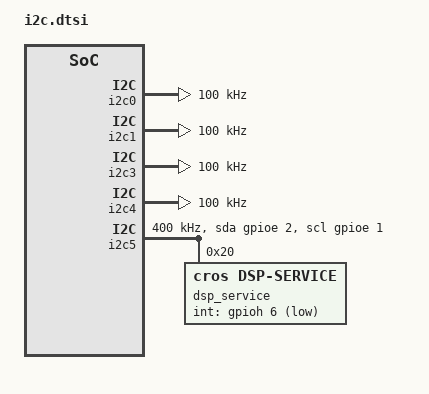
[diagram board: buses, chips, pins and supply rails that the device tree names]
/* Copyright 2026 The ChromiumOS Authors
 * Use of this source code is governed by a BSD-style license that can be
 * found in the LICENSE file.
 */

/ {
	named-i2c-ports {
		compatible = "named-i2c-ports";

		i2c_ec_i2c_eusba: ec_i2c_eusba {
			i2c-port = <&i2c0>;
			enum-names = "I2C_PORT_EUSBA";
		};
		i2c_ec_i2c_eusbb: ec_i2c_eusbb {
			i2c-port = <&i2c3>;
			enum-names = "I2C_PORT_EUSBB";
		};
		i2c_ec_i2c_pd_prog: ec_i2c_pd_prog {
			i2c-port = <&i2c1>;
			enum-names = "I2C_PORT_PD";
		};
		i2c_ec_i2c_charger: ec_i2c_charger {
			i2c-port = <&i2c4>;
			enum-names = "I2C_PORT_BATTERY";
		};
		i2c_ec_i2c_sensor: ec_i2c_sensor {
			i2c-port = <&i2c5>;
			enum-names = "I2C_PORT_SENSOR";
		};
	};
};

&i2c0 {
	pinctrl-0 = <&i2c0_clk_gpb3_default
		     &i2c0_data_gpb4_default>;
	pinctrl-names = "default";

	label = "I2C_PORT_EUSBA";
	clock-frequency = <I2C_BITRATE_STANDARD>;
};

&i2c1 {
	pinctrl-0 = <&i2c1_clk_gpc1_default
		     &i2c1_data_gpc2_default>;
	pinctrl-names = "default";

	label = "I2C_PORT_PD";
	clock-frequency = <I2C_BITRATE_STANDARD>;
};

&i2c3 {
	pinctrl-0 = <&i2c3_clk_gph1_default
		     &i2c3_data_gph2_default>;
	pinctrl-names = "default";

	label = "I2C_PORT_EUSBB";
	clock-frequency = <I2C_BITRATE_STANDARD>;
};

&i2c4 {
	pinctrl-0 = <&i2c4_clk_gpe0_default
		     &i2c4_data_gpe7_default>;
	pinctrl-names = "default";

	label = "I2C_PORT_CHARGER";
	clock-frequency = <I2C_BITRATE_STANDARD>;
};

&i2c5 {
	pinctrl-0 = <&i2c5_clk_gpe1_default
		     &i2c5_data_gpe2_default>;
	pinctrl-names = "default";
	target-enable;

	scl-gpios = <&gpioe 1 0>;
	sda-gpios = <&gpioe 2 0>;

	label = "I2C_PORT_SENSOR";
	clock-frequency = <I2C_BITRATE_FAST>;
	dsp_service: dsp-service@20 {
		compatible = "cros,dsp-service";
		reg = <0x20>;
		int-gpios = <&gpioh 6 (GPIO_OPEN_DRAIN | GPIO_ACTIVE_LOW)>;
	};
};

&i2c0 {
	status = "okay";
};

&i2c1 {
	status = "okay";
};

&i2c3 {
	status = "okay";
};

&i2c4 {
	status = "okay";
};

&i2c5 {
	status = "okay";
};
